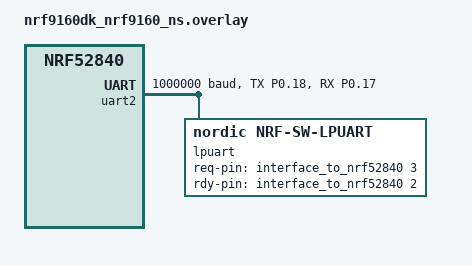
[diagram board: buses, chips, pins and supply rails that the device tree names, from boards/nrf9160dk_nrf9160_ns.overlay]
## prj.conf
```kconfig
#
# Copyright (c) 2019 Nordic Semiconductor ASA
#
# SPDX-License-Identifier: LicenseRef-Nordic-5-Clause
#
# General config
CONFIG_NEWLIB_LIBC=y
CONFIG_NEWLIB_LIBC_FLOAT_PRINTF=y
CONFIG_ASSERT=y
CONFIG_REBOOT=y

# Network
CONFIG_NETWORKING=y
CONFIG_NET_NATIVE=n
CONFIG_NET_SOCKETS=y
CONFIG_NET_SOCKETS_OFFLOAD=y

# LTE link control
CONFIG_LTE_LINK_CONTROL=y
CONFIG_LTE_AUTO_INIT_AND_CONNECT=n
CONFIG_LTE_NETWORK_MODE_LTE_M_GPS=y

# AT host
CONFIG_AT_HOST_LIBRARY=y

# Modem library
CONFIG_NRF_MODEM_LIB=y
# Modem library fault handling
CONFIG_NRF_MODEM_LIB_ON_FAULT_APPLICATION_SPECIFIC=y

# Disable Modem traces, since we need UART1 for HCI
CONFIG_NRF_MODEM_LIB_TRACE=n

# nRF Cloud
CONFIG_NRF_CLOUD_MQTT=y
CONFIG_NRF_CLOUD_AGPS=y

# Modem info
CONFIG_MODEM_INFO=y
CONFIG_MODEM_INFO_ADD_NETWORK=y

# Logging
CONFIG_LOG=y
CONFIG_LTE_BLE_GW_LOG_LEVEL_INF=y

# For demo purposes, we acquire fix often
CONFIG_GNSS_SEARCH_INTERVAL=30
CONFIG_GNSS_SEARCH_TIMEOUT=15

# Library for buttons and LEDs
CONFIG_DK_LIBRARY=y

# Console for user association
CONFIG_CONSOLE_SUBSYS=y
CONFIG_CONSOLE_GETCHAR=y

# Enable Bluetooth stack and libraries
CONFIG_BT=y
CONFIG_BT_H4=y
CONFIG_BT_WAIT_NOP=y
CONFIG_BT_CENTRAL=y
CONFIG_BT_GATT_CLIENT=y
CONFIG_BT_GATT_DM=y
CONFIG_BT_SCAN=y
CONFIG_BT_SCAN_FILTER_ENABLE=y
CONFIG_BT_SCAN_UUID_CNT=1

CONFIG_UART_INTERRUPT_DRIVEN=y

# Heap and stacks
CONFIG_HEAP_MEM_POOL_SIZE=16384
CONFIG_MAIN_STACK_SIZE=8192
CONFIG_SYSTEM_WORKQUEUE_STACK_SIZE=4096

# Mitigation for NCSIDB-356
CONFIG_ZERO_LATENCY_IRQS=n
```

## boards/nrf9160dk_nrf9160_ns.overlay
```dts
#include <nrf9160dk_nrf52840_reset_on_if5.dtsi>

/ {
	chosen {
		zephyr,bt-uart=&lpuart;
	};
};

&gpiote {
	interrupts = <49 NRF_DEFAULT_IRQ_PRIORITY>;
};

&uart2 {
	current-speed = <1000000>;
	status = "okay";
	/delete-property/ hw-flow-control;

	pinctrl-0 = <&uart2_default_alt>;
	pinctrl-1 = <&uart2_sleep_alt>;
	pinctrl-names = "default", "sleep";
	lpuart: nrf-sw-lpuart {
		compatible = "nordic,nrf-sw-lpuart";
		status = "okay";
		req-pin-gpios = <&interface_to_nrf52840 3 0>;
		rdy-pin-gpios = <&interface_to_nrf52840 2 0>;
	};
};

&pinctrl {
	uart2_default_alt: uart2_default_alt {
		group1 {
			psels = <NRF_PSEL(UART_TX, 0, 18)>,
				<NRF_PSEL(UART_RX, 0, 17)>;
		};
	};

	uart2_sleep_alt: uart2_sleep_alt {
		group1 {
			psels = <NRF_PSEL(UART_TX, 0, 18)>,
				<NRF_PSEL(UART_RX, 0, 17)>;
			low-power-enable;
		};
	};

};
```

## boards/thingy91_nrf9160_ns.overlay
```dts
/ {
	chosen {
		zephyr,bt-uart=&lpuart;
	};
};

&uart1 {
	current-speed = <1000000>;
	status = "okay";
	/delete-property/ hw-flow-control;

	pinctrl-0 = <&uart1_default_alt>;
	pinctrl-1 = <&uart1_sleep_alt>;
	pinctrl-names = "default", "sleep";
	lpuart: nrf-sw-lpuart {
		compatible = "nordic,nrf-sw-lpuart";
		status = "okay";
		req-pin-gpios = <&gpio0 24 0>;
		rdy-pin-gpios = <&gpio0 25 0>;
	};
};

&gpiote {
	interrupts = <49 NRF_DEFAULT_IRQ_PRIORITY>;
};

&uart0 {
	status = "disabled";
};

&pinctrl {
	uart1_default_alt: uart1_default_alt {
		group1 {
			psels = <NRF_PSEL(UART_TX, 0, 22)>,
				<NRF_PSEL(UART_RX, 0, 23)>;
		};
	};

	uart1_sleep_alt: uart1_sleep_alt {
		group1 {
			psels = <NRF_PSEL(UART_TX, 0, 22)>,
				<NRF_PSEL(UART_RX, 0, 23)>;
			low-power-enable;
		};
	};
};
```

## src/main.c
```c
/*
 * Copyright (c) 2018 Nordic Semiconductor ASA
 *
 * SPDX-License-Identifier: LicenseRef-Nordic-5-Clause
 */

#include <zephyr.h>
#include <stdio.h>
#include <string.h>
#include <nrf_modem_at.h>
#include <nrf_modem_gnss.h>
#include <drivers/sensor.h>
#include <console/console.h>
#include <net/nrf_cloud.h>
#include <net/nrf_cloud_agps.h>
#include <dk_buttons_and_leds.h>
#include <modem/lte_lc.h>
#include <sys/reboot.h>
#include <modem/nrf_modem_lib.h>
#include <logging/log.h>

#include "aggregator.h"
#include "ble.h"
#include "alarm.h"

LOG_MODULE_REGISTER(lte_ble_gw, CONFIG_LTE_BLE_GW_LOG_LEVEL);

/* Interval in milliseconds between each time status LEDs are updated. */
#define LEDS_UPDATE_INTERVAL K_MSEC(500)

/* Interval in microseconds between each time LEDs are updated when indicating
 * that an error has occurred.
 */
#define LEDS_ERROR_UPDATE_INTERVAL 250000

#define BUTTON_1 BIT(0)
#define BUTTON_2 BIT(1)
#define SWITCH_1 BIT(2)
#define SWITCH_2 BIT(3)

#define LED_ON(x)			(x)
#define LED_BLINK(x)		((x) << 8)
#define LED_GET_ON(x)		((x) & 0xFF)
#define LED_GET_BLINK(x)	(((x) >> 8) & 0xFF)

/* Interval in milliseconds after the device will retry cloud connection
 * if the event NRF_CLOUD_EVT_TRANSPORT_CONNECTED is not received.
 */
#define RETRY_CONNECT_WAIT K_MSEC(90000)

enum {
	LEDS_INITIALIZING       = LED_ON(0),
	LEDS_LTE_CONNECTING     = LED_BLINK(DK_LED3_MSK),
	LEDS_LTE_CONNECTED      = LED_ON(DK_LED3_MSK),
	LEDS_CLOUD_CONNECTING   = LED_BLINK(DK_LED4_MSK),
	LEDS_CLOUD_PAIRING_WAIT = LED_BLINK(DK_LED3_MSK | DK_LED4_MSK),
	LEDS_CLOUD_CONNECTED    = LED_ON(DK_LED4_MSK),
	LEDS_ERROR              = LED_ON(DK_ALL_LEDS_MSK)
} display_state;

/* Variable to keep track of nRF cloud user association request. */
static atomic_val_t association_requested;

/* Sensor data */
static struct nrf_modem_gnss_nmea_data_frame gnss_nmea_data;
static uint32_t gnss_cloud_data_tag = 0x1;
static atomic_val_t send_data_enable;

/* Structures for work */
static struct k_work_delayable leds_update_work;
static struct k_work_delayable connect_work;
struct k_work_delayable aggregated_work;
static struct k_work agps_request_work;

static struct nrf_modem_gnss_pvt_data_frame last_pvt;
static bool nrf_modem_gnss_fix;

static bool cloud_connected;

enum error_type {
	ERROR_NRF_CLOUD,
	ERROR_MODEM_RECOVERABLE,
};

/* Forward declaration of functions. */
static void cloud_connect(struct k_work *work);
static void sensors_init(void);
static void work_init(void);

void sensor_data_send(struct nrf_cloud_sensor_data *data);

/**@brief nRF Cloud error handler. */
void error_handler(enum error_type err_type, int err)
{
	if (err_type == ERROR_NRF_CLOUD) {
		int err;

		/* Turn off and shutdown modem */
		k_sched_lock();
		err = lte_lc_power_off();
		__ASSERT(err == 0, "lte_lc_power_off failed: %d", err);
		nrf_modem_lib_shutdown();
	}

#if !defined(CONFIG_DEBUG)
	sys_reboot(SYS_REBOOT_COLD);
#else
	uint8_t led_pattern;

	switch (err_type) {
	case ERROR_NRF_CLOUD:
		/* Blinking all LEDs ON/OFF in pairs (1 and 4, 2 and 3)
		 * if there is an application error.
		 */
		led_pattern = DK_LED1_MSK | DK_LED4_MSK;
		LOG_ERR("Error of type ERROR_NRF_CLOUD: %d", err);
		break;
	case ERROR_MODEM_RECOVERABLE:
		/* Blinking all LEDs ON/OFF in pairs (1 and 3, 2 and 4)
		 * if there is a recoverable error.
		 */
		led_pattern = DK_LED1_MSK | DK_LED3_MSK;
		LOG_ERR("Error of type ERROR_MODEM_RECOVERABLE: %d", err);
		break;
	default:
		/* Blinking all LEDs ON/OFF in pairs (1 and 2, 3 and 4)
		 * undefined error.
		 */
		led_pattern = DK_LED1_MSK | DK_LED2_MSK;
		break;
	}

	while (true) {
		dk_set_leds(led_pattern & 0x0f);
		k_busy_wait(LEDS_ERROR_UPDATE_INTERVAL);
		dk_set_leds(~led_pattern & 0x0f);
		k_busy_wait(LEDS_ERROR_UPDATE_INTERVAL);
	}
#endif /* CONFIG_DEBUG */
}

void nrf_cloud_error_handler(int err)
{
	error_handler(ERROR_NRF_CLOUD, err);
}

/**@brief Recoverable modem library error. */
void nrf_modem_fault_handler(struct nrf_modem_fault_info *fault_info)
{
	error_handler(ERROR_MODEM_RECOVERABLE, (int)fault_info->reason);
}

/**@brief Request assisted GPS data from nRF Cloud. */
static void agps_request(struct k_work *work)
{
	int retval;
	struct nrf_modem_gnss_agps_data_frame agps_data;

	if (!nrf_cloud_agps_request_in_progress()) {
		retval = nrf_modem_gnss_read(&agps_data, sizeof(agps_data),
					     NRF_MODEM_GNSS_DATA_AGPS_REQ);
		if (retval) {
			LOG_ERR("Failed to read AGPS data, err %d", retval);
			return;
		}

		retval = nrf_cloud_agps_request(&agps_data);
		if (retval) {
			LOG_ERR("Failed to request AGPS data, err %d", retval);
			return;
		}
	}
}

/**@brief Callback for GNSS events */
static void gnss_event_handler(int event)
{
	int retval;

	uint32_t button_state, has_changed;
	struct sensor_data in_data = {
		.type = GNSS_POSITION,
	};

	switch (event) {
	case NRF_MODEM_GNSS_EVT_PVT:
		retval = nrf_modem_gnss_read(&last_pvt, sizeof(last_pvt), NRF_MODEM_GNSS_DATA_PVT);
		if (retval) {
			LOG_ERR("nrf_modem_gnss_read failed, err %d", retval);
			return;
		}
		if (last_pvt.flags & NRF_MODEM_GNSS_PVT_FLAG_FIX_VALID) {
			nrf_modem_gnss_fix = true;
		} else {
			nrf_modem_gnss_fix = false;
		}
		return;
	case NRF_MODEM_GNSS_EVT_FIX:
		LOG_DBG("NRF_MODEM_GNSS_EVT_FIX");
		return;
	case NRF_MODEM_GNSS_EVT_NMEA:
		if (nrf_modem_gnss_fix == true) {
			retval = nrf_modem_gnss_read(&gnss_nmea_data,
						     sizeof(struct nrf_modem_gnss_nmea_data_frame),
						     NRF_MODEM_GNSS_DATA_NMEA);
			if (retval) {
				LOG_ERR("nrf_modem_gnss_read failed, err: %d", retval);
				return;
			}
			LOG_INF("GNSS NMEA data ready");
			break;
		}
		return;

	case NRF_MODEM_GNSS_EVT_AGPS_REQ:
		LOG_INF("Requesting AGPS Data");
		k_work_submit(&agps_request_work);
		return;
	case NRF_MODEM_GNSS_EVT_BLOCKED:
		LOG_DBG("NRF_MODEM_GNSS_EVT_BLOCKED");
		return;
	case NRF_MODEM_GNSS_EVT_UNBLOCKED:
		LOG_DBG("NRF_MODEM_GNSS_EVT_UNBLOCKED");
		return;
	case NRF_MODEM_GNSS_EVT_PERIODIC_WAKEUP:
		LOG_DBG("NRF_MODEM_GNSS_EVT_PERIODIC_WAKEUP");
		return;
	case NRF_MODEM_GNSS_EVT_SLEEP_AFTER_TIMEOUT:
		LOG_DBG("NRF_MODEM_GNSS_EVT_SLEEP_AFTER_TIMEOUT");
		return;
	case NRF_MODEM_GNSS_EVT_SLEEP_AFTER_FIX:
		LOG_DBG("NRF_MODEM_GNSS_EVT_SLEEP_AFTER_FIX");
		return;
	default:
		LOG_WRN("Unknown GNSS event %d", event);
		return;
	}

	dk_read_buttons(&button_state, &has_changed);

	if ((button_state & SWITCH_2) || !atomic_get(&send_data_enable)) {
		return;
	}

	gnss_cloud_data_tag++;

	memcpy(in_data.data, &gnss_cloud_data_tag, sizeof(gnss_cloud_data_tag));

	in_data.length = sizeof(gnss_cloud_data_tag) + sizeof(gnss_nmea_data.nmea_str);

	memcpy(&in_data.data[sizeof(gnss_cloud_data_tag)], gnss_nmea_data.nmea_str,
	       sizeof(gnss_nmea_data.nmea_str));

	retval = aggregator_put(in_data);
	if (retval) {
		LOG_ERR("Failed to store GNSS data.");
	}
}

/**@brief Update LEDs state. */
static void leds_update(struct k_work *work)
{
	static bool led_on;
	static uint8_t current_led_on_mask;
	uint8_t led_on_mask = current_led_on_mask;

	ARG_UNUSED(work);

	/* Reset LED3 and LED4. */
	led_on_mask &= ~(DK_LED3_MSK | DK_LED4_MSK);

	/* Set LED3 and LED4 to match current state. */
	led_on_mask |= LED_GET_ON(display_state);

	led_on = !led_on;
	if (led_on) {
		led_on_mask |= LED_GET_BLINK(display_state);
	} else {
		led_on_mask &= ~LED_GET_BLINK(display_state);
	}

	if (led_on_mask != current_led_on_mask) {
		dk_set_leds(led_on_mask);
		current_led_on_mask = led_on_mask;
	}

	k_work_schedule(&leds_update_work, LEDS_UPDATE_INTERVAL);
}

/**@brief Send sensor data to nRF Cloud. **/
void sensor_data_send(struct nrf_cloud_sensor_data *data)
{
	int err;

	if (!atomic_get(&send_data_enable)) {
		return;
	}

	if (data->type == NRF_CLOUD_SENSOR_FLIP) {
		err = nrf_cloud_sensor_data_stream(data);
	} else {
		err = nrf_cloud_sensor_data_send(data);
	}

	if (err) {
		LOG_ERR("Failed to send data to cloud: %d", err);
		nrf_cloud_error_handler(err);
	}
}

static void on_cloud_evt_user_association_request(void)
{
	if (!atomic_get(&association_requested)) {
		atomic_set(&association_requested, 1);
		LOG_INF("Add device to cloud account");
		LOG_INF("Waiting for cloud association...");
	}
}

static void on_cloud_evt_user_associated(void)
{
	int err;

	if (atomic_get(&association_requested)) {
		atomic_set(&association_requested, 0);

		/* after successful association, the device must
		 * reconnect to aws.
		 */
		LOG_INF("Device associated with cloud");
		LOG_INF("Reconnecting for settings to take effect");
		LOG_INF("Disconnecting from cloud...");

		err = nrf_cloud_disconnect();

		if (err == 0) {
			return;
		} else {
			LOG_ERR("Disconnect failed, rebooting...");
			nrf_cloud_error_handler(err);
		}
	}
}

/**@brief Callback for nRF Cloud events. */
static void cloud_event_handler(const struct nrf_cloud_evt *evt)
{
	int err;

	switch (evt->type) {
	case NRF_CLOUD_EVT_TRANSPORT_CONNECTED:
		LOG_DBG("NRF_CLOUD_EVT_TRANSPORT_CONNECTED");
		cloud_connected = true;
		/* This may fail if the work item is already being processed,
		 * but in such case, the next time the work handler is executed,
		 * it will exit after checking the above flag and the work will
		 * not be scheduled again.
		 */
		(void)k_work_cancel_delayable(&connect_work);
		break;
	case NRF_CLOUD_EVT_TRANSPORT_CONNECTING:
		LOG_DBG("NRF_CLOUD_EVT_TRANSPORT_CONNECTING");
		break;
	case NRF_CLOUD_EVT_USER_ASSOCIATION_REQUEST:
		LOG_DBG("NRF_CLOUD_EVT_USER_ASSOCIATION_REQUEST");
		display_state = LEDS_CLOUD_PAIRING_WAIT;
		on_cloud_evt_user_association_request();
		break;
	case NRF_CLOUD_EVT_USER_ASSOCIATED:
		LOG_DBG("NRF_CLOUD_EVT_USER_ASSOCIATED");
		on_cloud_evt_user_associated();
		break;
	case NRF_CLOUD_EVT_READY:
		LOG_DBG("NRF_CLOUD_EVT_READY");
		display_state = LEDS_CLOUD_CONNECTED;
		sensors_init();
		atomic_set(&send_data_enable, 1);
		k_work_schedule(&aggregated_work, K_MSEC(100));
		break;
	case NRF_CLOUD_EVT_RX_DATA:
		LOG_DBG("NRF_CLOUD_EVT_RX_DATA");

		LOG_INF("Processing AGPS data");
		err = nrf_cloud_agps_process(evt->data.ptr, evt->data.len);
		if (err) {
			LOG_ERR("Processing AGPS data failed");
		}

		break;
	case NRF_CLOUD_EVT_SENSOR_DATA_ACK:
		LOG_DBG("NRF_CLOUD_EVT_SENSOR_DATA_ACK");
		break;
	case NRF_CLOUD_EVT_TRANSPORT_DISCONNECTED:
		LOG_DBG("NRF_CLOUD_EVT_TRANSPORT_DISCONNECTED");
		atomic_set(&send_data_enable, 0);
		k_work_cancel_delayable(&aggregated_work);
		display_state = LEDS_INITIALIZING;

		cloud_connected = false;
		/* Reconnect to nRF Cloud. */
		k_work_schedule(&connect_work, K_NO_WAIT);
		break;
	case NRF_CLOUD_EVT_ERROR:
		LOG_DBG("NRF_CLOUD_EVT_ERROR, status: %d", evt->status);
		atomic_set(&send_data_enable, 0);
		display_state = LEDS_ERROR;
		nrf_cloud_error_handler(evt->status);
		break;
	default:
		LOG_WRN("Received unknown event %d", evt->type);
		break;
	}
}

/**@brief Initialize nRF CLoud library. */
static void cloud_init(void)
{
	const struct nrf_cloud_init_param param = {
		.event_handler = cloud_event_handler
	};

	int err = nrf_cloud_init(&param);

	__ASSERT(err == 0, "nRF Cloud library could not be initialized.");
}

/**@brief Connect to nRF Cloud, */
static void cloud_connect(struct k_work *work)
{
	int err;

	ARG_UNUSED(work);

	if (cloud_connected) {
		return;
	}

	const enum nrf_cloud_sensor supported_sensors[] = {
		NRF_CLOUD_SENSOR_GPS, NRF_CLOUD_SENSOR_FLIP
	};

	const struct nrf_cloud_sensor_list sensor_list = {
		.size = ARRAY_SIZE(supported_sensors), .ptr = supported_sensors
	};

	const struct nrf_cloud_connect_param param = {
		.sensor = &sensor_list,
	};

	err = nrf_cloud_connect(&param);
	if (err) {
		LOG_ERR("nrf_cloud_connect failed: %d", err);
		nrf_cloud_error_handler(err);
	}

	display_state = LEDS_CLOUD_CONNECTING;
	k_work_schedule(&connect_work, RETRY_CONNECT_WAIT);
}

/**@brief Callback for button events from the DK buttons and LEDs library. */
static void button_handler(uint32_t buttons, uint32_t has_changed)
{
	LOG_INF("button_handler: button 1: %u, button 2: %u "
		"switch 1: %u, switch 2: %u",
		(bool)(buttons & BUTTON_1), (bool)(buttons & BUTTON_2), (bool)(buttons & SWITCH_1),
		(bool)(buttons & SWITCH_2));
}

/**@brief Initializes and submits delayed work. */
static void work_init(void)
{
	k_work_init(&agps_request_work, agps_request);
	k_work_init_delayable(&leds_update_work, leds_update);
	k_work_init_delayable(&connect_work, cloud_connect);
	k_work_init_delayable(&aggregated_work, send_aggregated_data);
	k_work_schedule(&leds_update_work, LEDS_UPDATE_INTERVAL);
}

/**@brief Configures modem to provide LTE link. Blocks until link is
 * successfully established.
 */
static void modem_configure(void)
{
	int err;

	display_state = LEDS_LTE_CONNECTING;

	if (IS_ENABLED(CONFIG_LTE_AUTO_INIT_AND_CONNECT)) {
		/* Do nothing, modem is already turned on and connected. */
	} else {
		LOG_INF("Establishing LTE link (this may take some time) ...");
		err = lte_lc_init_and_connect();
		__ASSERT(err == 0, "LTE link could not be established.");
		display_state = LEDS_LTE_CONNECTED;
	}
}

/**@brief Initializes the sensors that are used by the application. */
static void sensors_init(void)
{
	int err;

	LOG_INF("Initializing GNSS");

	nrf_modem_gnss_fix = false;

	/* Configure GNSS. */
	err = nrf_modem_gnss_event_handler_set(gnss_event_handler);
	if (err) {
		LOG_ERR("Failed to set GNSS event handler");
		return;
	}

	/* Enable position NMEA GGA messages only. */
	uint16_t nmea_mask = NRF_MODEM_GNSS_NMEA_GGA_MASK;

	err = nrf_modem_gnss_nmea_mask_set(nmea_mask);
	if (err) {
		LOG_ERR("Failed to set GNSS NMEA mask");
		return;
	}

	/* This use case flag should always be set. */
	uint8_t use_case = NRF_MODEM_GNSS_USE_CASE_MULTIPLE_HOT_START;

	err = nrf_modem_gnss_use_case_set(use_case);
	if (err) {
		LOG_WRN("Failed to set GNSS use case");
	}

	err = nrf_modem_gnss_fix_retry_set(CONFIG_GNSS_SEARCH_TIMEOUT);
	if (err) {
		LOG_ERR("Failed to set GNSS fix retry");
		return;
	}

	err = nrf_modem_gnss_fix_interval_set(CONFIG_GNSS_SEARCH_INTERVAL);
	if (err) {
		LOG_ERR("Failed to set GNSS fix interval");
		return;
	}

	LOG_INF("GNSS initialized");

	err = nrf_modem_gnss_start();
	if (err) {
		LOG_ERR("Failed to start GNSS, err: %d", err);
		return;
	}

	LOG_INF("GNSS started with interval %d seconds, and timeout %d seconds",
		CONFIG_GNSS_SEARCH_INTERVAL, CONFIG_GNSS_SEARCH_TIMEOUT);
}

/**@brief Initializes buttons and LEDs, using the DK buttons and LEDs
 * library.
 */
static void buttons_leds_init(void)
{
	int err;

	err = dk_buttons_init(button_handler);
	if (err) {
		LOG_ERR("Could not initialize buttons, err code: %d", err);
	}

	err = dk_leds_init();
	if (err) {
		LOG_ERR("Could not initialize leds, err code: %d", err);
	}

	err = dk_set_leds_state(0x00, DK_ALL_LEDS_MSK);
	if (err) {
		LOG_ERR("Could not set leds state, err code: %d", err);
	}
}

void main(void)
{
	LOG_INF("LTE Sensor Gateway sample started");

	buttons_leds_init();
	ble_init();

	work_init();
	cloud_init();
	modem_configure();
	cloud_connect(NULL);
}
```
